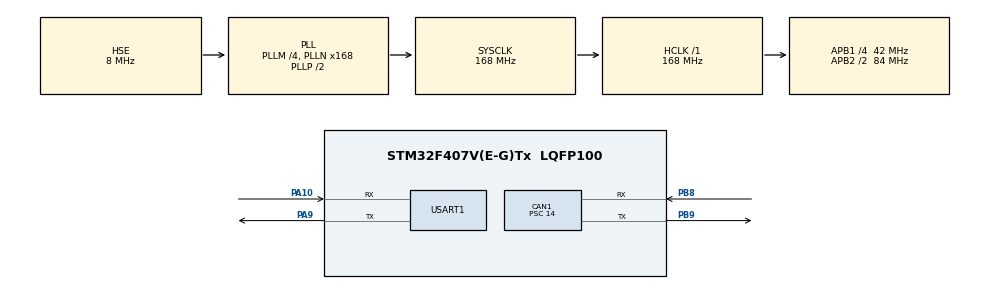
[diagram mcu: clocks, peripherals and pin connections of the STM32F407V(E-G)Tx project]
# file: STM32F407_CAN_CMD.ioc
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CAN1.ABOM=ENABLE
CAN1.BS1=CAN_BS1_4TQ
CAN1.CalculateTimeQuantum=333.33333333333337
CAN1.Prescaler=14
Dma.MEMTOMEM.0.Direction=DMA_MEMORY_TO_MEMORY
Dma.MEMTOMEM.0.FIFOMode=DMA_FIFOMODE_ENABLE
Dma.MEMTOMEM.0.FIFOThreshold=DMA_FIFO_THRESHOLD_FULL
Dma.MEMTOMEM.0.Instance=DMA2_Stream1
Dma.MEMTOMEM.0.MemBurst=DMA_MBURST_SINGLE
Dma.MEMTOMEM.0.MemDataAlignment=DMA_MDATAALIGN_BYTE
Dma.MEMTOMEM.0.MemInc=DMA_MINC_ENABLE
Dma.MEMTOMEM.0.Mode=DMA_NORMAL
Dma.MEMTOMEM.0.PeriphBurst=DMA_PBURST_SINGLE
Dma.MEMTOMEM.0.PeriphDataAlignment=DMA_PDATAALIGN_BYTE
Dma.MEMTOMEM.0.PeriphInc=DMA_PINC_ENABLE
Dma.MEMTOMEM.0.Priority=DMA_PRIORITY_LOW
Dma.Request0=MEMTOMEM
Mcu.Family=STM32F4
Mcu.Name=STM32F407V(E-G)Tx
Mcu.Package=LQFP100
NVIC.CAN1_RX0_IRQn=true\:0\:0\:false\:false\:true\:true\:true\:true
NVIC.PriorityGroup=NVIC_PRIORITYGROUP_4
NVIC.USART1_IRQn=true\:0\:0\:false\:false\:true\:true\:true\:true
PA10.Mode=Asynchronous
PA10.Signal=USART1_RX
PA9.Mode=Asynchronous
PA9.Signal=USART1_TX
PB8.Mode=Master
PB8.Signal=CAN1_RX
PB9.Mode=Master
PB9.Signal=CAN1_TX
PC14-OSC32_IN.Mode=LSE-External-Oscillator
PC14-OSC32_IN.Signal=RCC_OSC32_IN
PC15-OSC32_OUT.Mode=LSE-External-Oscillator
PC15-OSC32_OUT.Signal=RCC_OSC32_OUT
PH0-OSC_IN.Mode=HSE-External-Oscillator
PH0-OSC_IN.Signal=RCC_OSC_IN
PH1-OSC_OUT.Mode=HSE-External-Oscillator
PH1-OSC_OUT.Signal=RCC_OSC_OUT
ProjectManager.HeapSize=0x200
ProjectManager.StackSize=0x800
ProjectManager.TargetToolchain=MDK-ARM V5
RCC.48MHZClocksFreq_Value=84000000
RCC.AHBFreq_Value=168000000
RCC.APB1CLKDivider=RCC_HCLK_DIV4
RCC.APB1Freq_Value=42000000
RCC.APB1TimFreq_Value=84000000
RCC.APB2CLKDivider=RCC_HCLK_DIV2
RCC.APB2Freq_Value=84000000
RCC.APB2TimFreq_Value=168000000
RCC.CortexFreq_Value=168000000
RCC.HCLKFreq_Value=168000000
RCC.HSE_VALUE=8000000
RCC.HSI_VALUE=16000000
RCC.PLLM=4
RCC.PLLN=168
RCC.PLLSourceVirtual=RCC_PLLSOURCE_HSE
RCC.SYSCLKFreq_VALUE=168000000
RCC.SYSCLKSource=RCC_SYSCLKSOURCE_PLLCLK
RCC.VCOOutputFreq_Value=336000000
USART1.VirtualMode=VM_ASYNC
board=custom

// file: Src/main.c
/* USER CODE BEGIN Header */
/**
  ******************************************************************************
  * @file           : main.c
  * @brief          : Main program body
  ******************************************************************************
  * @attention
  *
  * <h2><center>&copy; Copyright (c) 2024 STMicroelectronics.
  * All rights reserved.</center></h2>
  *
  * This software component is licensed by ST under BSD 3-Clause license,
  * the "License"; You may not use this file except in compliance with the
  * License. You may obtain a copy of the License at:
  *                        opensource.org/licenses/BSD-3-Clause
  *
  ******************************************************************************
  */
/* USER CODE END Header */

#include "main.h"
#include "can.h"
#include "dma.h"
#include "usart.h"
#include "gpio.h"

/* USER CODE BEGIN Includes */

#include "Emm_V5.h"
#include "usart.h"   // 引入串口库
#include <stdlib.h>  // 用于 atoi 字符串转数字
#include <string.h>  // 用于 strchr 查找字符
#include <math.h>    // 用于 abs 绝对值计算

/* USER CODE END Includes */

/* USER CODE BEGIN PV */

// ================== 串口接收缓冲与状态 ==================
#define RX_BUF_SIZE 32
char rx_buffer[RX_BUF_SIZE];
uint8_t rx_index = 0;
uint8_t rx_byte;

// ================== 视觉坐标与标志位 ==================
uint16_t target_x = 0;
uint16_t target_y = 0;
uint8_t  target_valid = 0;

// ================== 闭环云台追踪控制参数 (终极丝滑版) ==================
#define CENTER_X 160    // 160x110 画面的物理中心X
#define CENTER_Y 112    // 160x110 画面的物理中心Y
#define DEADZONE 15     // 【修改】死区略微收紧，让它粘性更强

// 【修改】因为相机帧率极高，我们将单步的倍率适度调高，保证跟手性
float Kp_step_x = 12.0f;
float Kp_step_y = 8.0f;

// 【核心修改】：转速大幅压低！
// 让电机像推磨一样，用缓慢的转速填满 0.05 秒的等待间隔，把离散的脉冲连成一条直线
#define RESP_RPM 30

// ================== 控制频率(节流阀) ==================
// 【修改】主循环检测频率设为 10ms (100Hz)，这样能保证绝对不漏接 MaixCam 发来的 20Hz 数据
#define CONTROL_INTERVAL_MS 10
uint32_t last_control_time = 0;

/* USER CODE END PV */

void SystemClock_Config(void);

int main(void)
{

  /* MCU Configuration--------------------------------------------------------*/

  /* Reset of all peripherals, Initializes the Flash interface and the Systick. */
  HAL_Init();

  /* Configure the system clock */
  SystemClock_Config();

  /* Initialize all configured peripherals */
  MX_GPIO_Init();
  MX_DMA_Init();
  MX_CAN1_Init();
  MX_USART1_UART_Init();
  /* USER CODE BEGIN 2 */

  USER_CAN1_Filter_Init();                                  // 初始化CAN滤波器
  if(HAL_CAN_Start(&hcan1) != HAL_OK) { Error_Handler(); }  // 启动CAN控制器
  if(HAL_CAN_ActivateNotification(&hcan1, CAN_IT_RX_FIFO0_MSG_PENDING) != HAL_OK) { Error_Handler(); } // 使能CAN中断

  // 开启第一次单字节串口中断接收
  HAL_UART_Receive_IT(&huart1, &rx_byte, 1);

  // 延时等待驱动器完全启动
  HAL_Delay(500);

  /* USER CODE END 2 */

  /* Infinite loop */
  /* USER CODE BEGIN WHILE */
  while (1)
  {
      uint32_t current_time = HAL_GetTick();

      if ((current_time - last_control_time >= CONTROL_INTERVAL_MS) && (target_valid == 1))
      {
          last_control_time = current_time;
          target_valid = 0;

          int16_t error_x = target_x - CENTER_X;
          int16_t error_y = target_y - CENTER_Y;

          // X轴计算
          uint16_t step_x = 0;
          uint8_t dir_x = 0;
          if (abs(error_x) > DEADZONE) {
              step_x = (uint16_t)(abs(error_x) * Kp_step_x);
              // 【修改】天花板设为 150，配合 100RPM 的速度，单次极限动作会很柔和
              if (step_x >1200) step_x = 1200;

              dir_x = (error_x > 0) ? 1 : 0;  // 保持你调好的方向
          }

          // Y轴计算
          uint16_t step_y = 0;
          uint8_t dir_y = 0;
          if (abs(error_y) > DEADZONE) {
              step_y = (uint16_t)(abs(error_y) * Kp_step_y);
              // 【修改】天花板设为 100
              if (step_y > 800) step_y = 800;

              dir_y = (error_y > 0) ? 1 : 0;  // 保持你调好的方向
          }

          if (step_x > 0 || step_y > 0)
          {
              if(step_x > 0) Emm_V5_Pos_Control(1, dir_x, RESP_RPM, 0, step_x, 0, 1);
              if(step_y > 0) Emm_V5_Pos_Control(2, dir_y, RESP_RPM, 0, step_y, 0, 1);

              Emm_V5_Synchronous_motion(0);
          }
      }

    /* USER CODE END WHILE */

  }
}

void SystemClock_Config(void)
{
  RCC_OscInitTypeDef RCC_OscInitStruct = {0};
  RCC_ClkInitTypeDef RCC_ClkInitStruct = {0};

  /** Configure the main internal regulator output voltage
  */
  __HAL_RCC_PWR_CLK_ENABLE();
  __HAL_PWR_VOLTAGESCALING_CONFIG(PWR_REGULATOR_VOLTAGE_SCALE1);
  /** Initializes the CPU, AHB and APB busses clocks
  */
  RCC_OscInitStruct.OscillatorType = RCC_OSCILLATORTYPE_HSE;
  RCC_OscInitStruct.HSEState = RCC_HSE_ON;
  RCC_OscInitStruct.PLL.PLLState = RCC_PLL_ON;
  RCC_OscInitStruct.PLL.PLLSource = RCC_PLLSOURCE_HSE;
  RCC_OscInitStruct.PLL.PLLM = 4;
  RCC_OscInitStruct.PLL.PLLN = 168;
  RCC_OscInitStruct.PLL.PLLP = RCC_PLLP_DIV2;
  RCC_OscInitStruct.PLL.PLLQ = 4;
  if (HAL_RCC_OscConfig(&RCC_OscInitStruct) != HAL_OK)
  {
    Error_Handler();
  }
  /** Initializes the CPU, AHB and APB busses clocks
  */
  RCC_ClkInitStruct.ClockType = RCC_CLOCKTYPE_HCLK|RCC_CLOCKTYPE_SYSCLK
                              |RCC_CLOCKTYPE_PCLK1|RCC_CLOCKTYPE_PCLK2;
  RCC_ClkInitStruct.SYSCLKSource = RCC_SYSCLKSOURCE_PLLCLK;
  RCC_ClkInitStruct.AHBCLKDivider = RCC_SYSCLK_DIV1;
  RCC_ClkInitStruct.APB1CLKDivider = RCC_HCLK_DIV4;
  RCC_ClkInitStruct.APB2CLKDivider = RCC_HCLK_DIV2;

  if (HAL_RCC_ClockConfig(&RCC_ClkInitStruct, FLASH_LATENCY_5) != HAL_OK)
  {
    Error_Handler();
  }
}

/* USER CODE BEGIN 4 */

void HAL_UART_RxCpltCallback(UART_HandleTypeDef *huart)
{
    if (huart->Instance == USART1)
    {
        if (rx_byte == '\n')
        {
            rx_buffer[rx_index] = '\0';

            if (rx_buffer[0] == 'X')
            {
                char *y_ptr = strchr(rx_buffer, 'Y');
                if (y_ptr != NULL)
                {
                    *y_ptr = '\0';

                    target_x = atoi(&rx_buffer[1]);
                    target_y = atoi(y_ptr + 1);

                    target_valid = 1;
                }
            }
            rx_index = 0;
        }
        else if (rx_byte != '\r')
        {
            if (rx_index < RX_BUF_SIZE - 1)
            {
                rx_buffer[rx_index++] = rx_byte;
            }
        }

        HAL_UART_Receive_IT(&huart1, &rx_byte, 1);
    }
}

/* USER CODE END 4 */

void Error_Handler(void)
{
}

/************************ (C) COPYRIGHT STMicroelectronics *****END OF FILE****/
